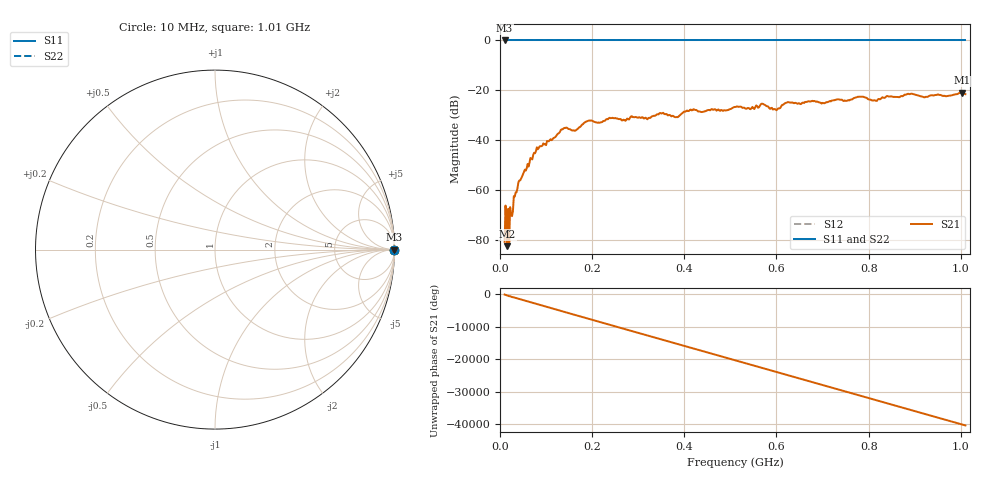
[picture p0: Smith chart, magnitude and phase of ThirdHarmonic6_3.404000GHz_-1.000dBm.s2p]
! 8/17/2025 10:52:55 AM
! C:\ANRITSUVNA\TEMP\TEMP.S2P
! CHANNEL.1
! TR.MEASUREMENT
! RAW.DATA
! RF.CORRECTION.OFF
! AVERAGING.OFF
! IF.BANDWIDTH: 5KHZ
! SWEEPTYPE:  FREQ.SWEEP(Linear)
! Reference Plane Port Info
! PORT:  PORT1  PORT2
! DISTANCE:  0  m  0  m
! TIME:  0  s  0  s
! PHASE.OFFSET:  0  deg.  0  deg.
! LOSS:  0  dB  0  dB
! REF.LOSS:  0  dB  0  dB
! REF.FREQ:  0  Hz  0  Hz
! Power Info
! POWER:  -20  dBm  -20  dBm
! EFF.POWER:  -20  dBm  -20  dBm
! SOURCE.ATTEN:  0  dB  0  dB
! TEST.ATTEN:  0  dB  0  dB
# GHZ S RI R 50.0
! FREQ.GHZ  S11RE  S11IM  S21RE  S21IM  S12RE  S12IM  S22RE  S22IM
!; PortSelection: Port_12
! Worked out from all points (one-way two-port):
!   501 points, 10 MHz to 1.01 GHz, reference 50 ohm
!   highest |S21| = -20.96 dB at 1.002 GHz (marker M1); lowest = -82.6 dB at 16 MHz (marker M2)
!   lowest |S11| = 0.0 dB at 10 MHz (marker M3)
!   |S11| at or under -10 dB: nowhere
!   |S22| runs from 0.0 to 0.0 dB; largest |S21 - S12| = 1.1
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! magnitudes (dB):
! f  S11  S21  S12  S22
! 10 MHz  0.0  -80.8  0.0  0.0
! 16 MHz  0.0  -82.6  0.0  0.0
! 24 MHz  0.0  -69.4  0.0  0.0
! 26 MHz  0.0  -70.6  0.0  0.0
! 42 MHz  0.0  -56.2  0.0  0.0
! 76 MHz  0.0  -45.3  0.0  0.0
! 136 MHz  0.0  -35.7  0.0  0.0
! 162 MHz  0.0  -36.3  0.0  0.0
! 178 MHz  0.0  -33.8  0.0  0.0
! 344 MHz  0.0  -29.7  0.0  0.0
! 384 MHz  0.0  -30.8  0.0  0.0
! 416 MHz  0.0  -28.1  0.0  0.0
! 510 MHz  0.0  -26.7  0.0  0.0
! 570 MHz  0.0  -25.4  0.0  0.0
! 598 MHz  0.0  -27.7  0.0  0.0
! 622 MHz  0.0  -25.0  0.0  0.0
! 678 MHz  0.0  -24.2  0.0  0.0
! 784 MHz  0.0  -22.6  0.0  0.0
! 814 MHz  0.0  -24.0  0.0  0.0
! 844 MHz  0.0  -22.5  0.0  0.0
! 1.002 GHz  0.0  -21.0  0.0  0.0
! 1.01 GHz  0.0  -21.6  0.0  0.0
